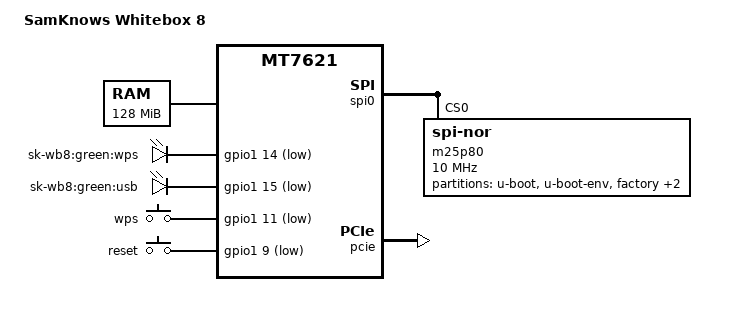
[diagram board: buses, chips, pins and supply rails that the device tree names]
/dts-v1/;

#include "mt7621.dtsi"

/ {
	compatible = "mediatek,mt7621-eval-board", "mediatek,mt7621-soc";
	model = "SamKnows Whitebox 8";

	memory@0 {
		device_type = "memory";
		reg = <0x0 0x8000000>;
	};

	chosen {
		bootargs = "console=ttyS0,57600";
	};

	gpio-leds {
		compatible = "gpio-leds";

		wps {
			label = "sk-wb8:green:wps";
			gpios = <&gpio1 14 1>;
		};

		usb {
			label = "sk-wb8:green:usb";
			gpios = <&gpio1 15 1>;
		};
	};

	gpio-keys-polled {
		compatible = "gpio-keys-polled";
		#address-cells = <1>;
		#size-cells = <0>;
		poll-interval = <20>;
		wps {
			label = "wps";
			gpios = <&gpio1 11 1>;
			linux,code = <0x211>;
		};
		reset {
			label = "reset";
			gpios = <&gpio1 9 1>;
			linux,code = <0x198>;
		};
	};
};

&spi0 {
	status = "okay";

	m25p80@0 {
		#address-cells = <1>;
		#size-cells = <1>;
		compatible = "jedec,spi-nor";
		reg = <0>;
		linux,modalias = "m25p80";
		spi-max-frequency = <10000000>;

		partition@0 {
			label = "u-boot";
			reg = <0x0 0x30000>;
			read-only;
		};

		partition@30000 {
			label = "u-boot-env";
			reg = <0x30000 0x10000>;
		};

		factory: partition@40000 {
			label = "factory";
			reg = <0x40000 0x10000>;
			read-only;
		};

		partition@50000 {
			label = "firmware";
			reg = <0x50000 0x7b0000>;
		};

		partition@e30000 {
			label = "recovery";
			reg = <0xe30000 0x1d0000>;
		};

	};
};

&pcie {
	status = "okay";

	pcie0 {
		mt76@0,0 {
			reg = <0x0000 0 0 0 0>;
			device_type = "pci";
			mediatek,mtd-eeprom = <&factory 0x8000>;
			mediatek,2ghz = <0>;
		};
	};

	pcie1 {
		mt76@1,0 {
			reg = <0x0000 0 0 0 0>;
			device_type = "pci";
			mediatek,mtd-eeprom = <&factory 0x0000>;
			mediatek,5ghz = <0>;
		};
	};
};

&ethernet {
	mtd-mac-address = <&factory 0xe000>;
};

&pinctrl {
	state_default: pinctrl0 {
		gpio {
			ralink,group = "i2c", "uart2", "uart3", "rgmii2", "sdhci";
			ralink,function = "gpio";
		};
	};
};
